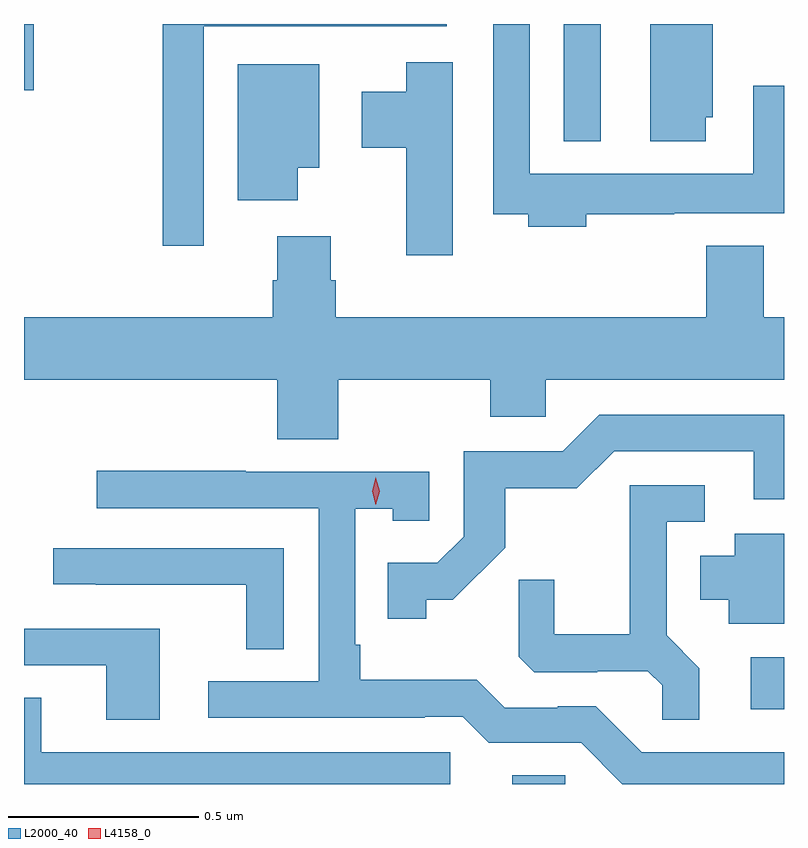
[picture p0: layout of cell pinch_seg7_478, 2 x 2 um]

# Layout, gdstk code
import gdstk
lib = gdstk.Library(unit=1e-6, precision=1e-09)
def R(c, l, rs):  # rectangles x0, y0, x1, y1
    for r in rs: c.add(gdstk.rectangle(r[:2], r[2:], *l))
def P(c, l, *ps):  # polygons
    for p in ps: c.add(gdstk.Polygon(p, *l))
L2000_40 = (2000, 40)
L4158_0 = (4158, 0)

pinch_seg7_478 = lib.new_cell('pinch_seg7_478')
R(pinch_seg7_478, L2000_40, [(339.911,1068.816,340.05,1068.839), (340.539,1069.013,340.626,1069.149), (340.047,1070.507,340.144,1070.816), (338.626,1070.642,338.652,1070.816)])
P(pinch_seg7_478, L2000_40, [(340.106,1070.316),(340.337,1070.316),(340.337,1070.318),(340.626,1070.318),(340.626,1070.653),(340.545,1070.653),(340.545,1070.422),(339.957,1070.422),(339.957,1070.816),(339.861,1070.816),(339.861,1070.316),(339.953,1070.316),(339.953,1070.282),(340.106,1070.282)],
  [(339.099,1070.81),(339.738,1070.81),(339.738,1070.816),(338.991,1070.816),(338.991,1070.232),(339.099,1070.232)],
  [(340.42,1070.571),(340.438,1070.571),(340.438,1070.816),(340.274,1070.816),(340.274,1070.508),(340.42,1070.508)],
  [(339.754,1070.716),(339.632,1070.716),(339.632,1070.638),(339.515,1070.638),(339.515,1070.491),(339.632,1070.491),(339.632,1070.208),(339.754,1070.208)],
  [(339.346,1070.438),(339.403,1070.438),(339.403,1070.71),(339.188,1070.71),(339.188,1070.352),(339.346,1070.352)],
  [(339.446,1070.142),(339.433,1070.142),(339.433,1070.257),(339.293,1070.257),(339.293,1070.142),(339.281,1070.142),(339.281,1070.044),(338.626,1070.044),(338.626,1069.88),(339.293,1069.88),(339.293,1069.723),(339.453,1069.723),(339.453,1069.88),(339.853,1069.88),(339.853,1069.782),(339.999,1069.782),(339.999,1069.88),(340.626,1069.88),(340.626,1070.044),(340.573,1070.044),(340.573,1070.233),(340.421,1070.233),(340.421,1070.044),(339.446,1070.044)],
  [(339.684,1069.301),(339.754,1069.301),(339.892,1069.438),(339.892,1069.594),(340.081,1069.594),(340.179,1069.692),(340.547,1069.692),(340.547,1069.566),(340.626,1069.566),(340.626,1069.788),(340.14,1069.788),(340.044,1069.692),(339.783,1069.692),(339.783,1069.467),(339.714,1069.398),(339.583,1069.398),(339.583,1069.251),(339.684,1069.251)],
  [(340.626,1068.9),(340.251,1068.9),(340.131,1069.02),(340.03,1069.02),(340.03,1069.017),(339.891,1069.017),(339.818,1069.09),(339.511,1069.09),(339.511,1069.183),(339.498,1069.183),(339.498,1069.541),(339.597,1069.541),(339.597,1069.509),(339.693,1069.509),(339.693,1069.638),(339.209,1069.638),(339.209,1069.641),(338.817,1069.641),(338.817,1069.542),(339.402,1069.542),(339.402,1069.086),(339.111,1069.086),(339.111,1068.99),(339.68,1068.99),(339.68,1068.993),(339.78,1068.993),(339.849,1068.924),(340.092,1068.924),(340.2,1068.816),(340.626,1068.816)],
  [(340.403,1069.121),(340.317,1069.207),(340.317,1069.506),(340.417,1069.506),(340.417,1069.602),(340.22,1069.602),(340.22,1069.21),(340.022,1069.21),(340.022,1069.353),(339.928,1069.353),(339.928,1069.151),(339.969,1069.11),(340.134,1069.11),(340.134,1069.113),(340.268,1069.113),(340.305,1069.076),(340.305,1068.985),(340.403,1068.985)],
  [(340.626,1069.474),(340.496,1069.474),(340.496,1069.417),(340.406,1069.417),(340.406,1069.301),(340.481,1069.301),(340.481,1069.238),(340.626,1069.238)],
  [(339.309,1069.437),(338.703,1069.437),(338.703,1069.342),(338.815,1069.342),(338.815,1069.341),(339.211,1069.341),(339.211,1069.171),(339.309,1069.171)],
  [(338.983,1069.224),(338.626,1069.224),(338.626,1069.128),(338.843,1069.128),(338.843,1068.985),(338.983,1068.985)],
  [(339.748,1068.9),(338.671,1068.9),(338.671,1069.043),(338.626,1069.043),(338.626,1068.816),(339.748,1068.816)])
P(pinch_seg7_478, L4158_0, [(339.551,1069.551),(339.542,1069.587),(339.551,1069.622),(339.552,1069.623),(339.552,1069.622),(339.562,1069.587),(339.552,1069.551),(339.552,1069.551)])

lib.write_gds('pinch_seg7_478.gds')
